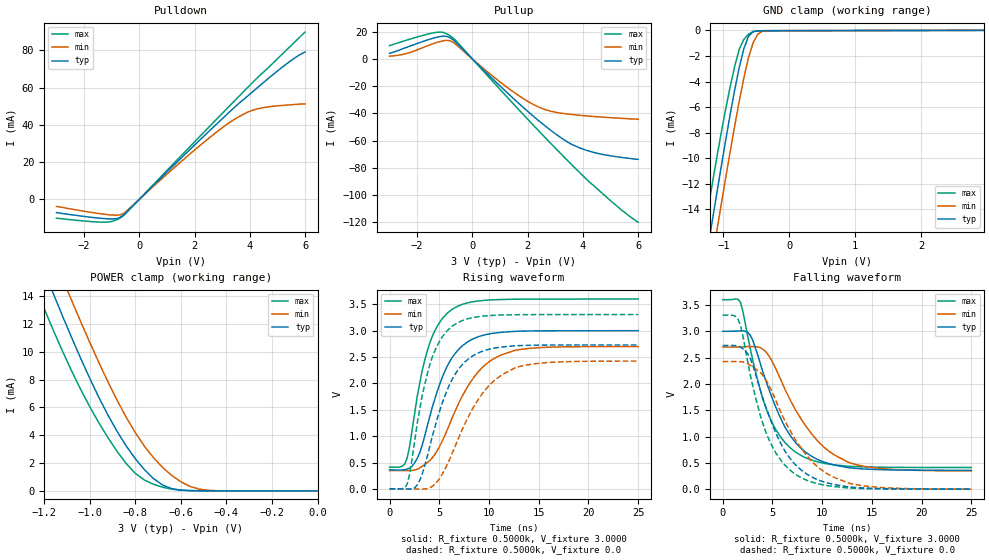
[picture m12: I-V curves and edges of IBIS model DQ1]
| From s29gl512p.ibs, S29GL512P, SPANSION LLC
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|   Model DQ1
[Model]  DQ1
Model_type I/O
Vinl =   0.9000V
Vinh =   2.1000V
Vmeas =  1.5000V
Cref =   30.0000pF
C_comp   2.0000pF   2.0000pF   2.0000pF
[Temperature Range]   25.0000   85.0000   -40.0000
[Pullup Reference]   3.0000V   2.7000V   3.6000V
[Pulldown Reference]   0.0V   0.0V   0.0V
[POWER Clamp Reference]   3.0000V   2.7000V   3.6000V
[GND Clamp Reference]   0.0V   0.0V   0.0V
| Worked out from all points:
|   slope of the pulldown table from 0 to 0.45 V, typ, clamps not added: 67.9 ohm
|   slope of the pullup table from 0 to 0.45 V, typ, clamps not added: 49.7 ohm
|   GND clamp passes 1 mA (typ) near -0.66 V on its own axis
|   POWER clamp passes 1 mA (typ) near -0.73 V on its own axis
|   rising waveform, R_fixture 0.5000k, V_fixture 3.0000: 20-80 % time 2.87ns typ, 3.9ns min, 2.25ns max; typ from 0.359 V to 3 V
|   rising waveform, R_fixture 0.5000k, V_fixture 0.0: 20-80 % time 2.94ns typ, 4.05ns min, 2.28ns max; typ from 0.001 V to 2.73 V
|   falling waveform, R_fixture 0.5000k, V_fixture 3.0000: 20-80 % time 3.67ns typ, 4.59ns min, 3.16ns max; typ from 3 V to 0.358 V
|   falling waveform, R_fixture 0.5000k, V_fixture 0.0: 20-80 % time 3.62ns typ, 4.45ns min, 3.15ns max; typ from 2.73 V to 0 V
[Pulldown]
|Voltage   I(typ)   I(min)   I(max)
-3V       -7.16mA    -3.82mA    -10.15mA
-1.7V     -9.74mA    -7.13mA    -12.05mA
-1.2V     -10.45mA   -8.16mA    -12.28mA
-800mV    -10.31mA   -8.525mA   -10.89mA
-600mV    -8.746mA   -7.855mA   -9.124mA
2.1V      30.54mA    27.69mA    32.38mA
3V        43.22mA    38.4mA     46.1mA
3.5V      50.1mA     43.42mA    53.67mA
4V        56.43mA    47.27mA    61.2mA
4.4V      61.51mA    48.97mA    67.01mA
5.5V      74.6mA     50.74mA    82.63mA
6V        79.1mA     51.2mA     89.79mA
[Pullup]
|Voltage   I(typ)   I(min)   I(max)
-3V       4.18mA     2.07mA     9.86mA
-2.3V     9.2mA      4.53mA     14.41mA
-1.3V     15.97mA    12.1mA     19.65mA
-1.1V     16.74mA    13.25mA    19.74mA
-800mV    15.56mA    13.38mA    17.01mA
1.3V      -25.61mA   -21.55mA   -29.03mA
2V        -38.49mA   -31.14mA   -44.31mA
2.5V      -47.1mA    -36.25mA   -55.03mA
3.4V      -60.56mA   -40.32mA   -73.84mA
4V        -66.32mA   -41.63mA   -85.94mA
5.4V      -72.46mA   -43.7mA    -111.2mA
6V        -73.9mA    -44.41mA   -120.1mA
[GND_clamp]
|Voltage   I(typ)   I(min)   I(max)
-3V       -75.7mA    -77.73mA   -73.04mA
-1.32V    -19.75mA   -22.64mA   -16.75mA
-1.25V    -17.5mA    -20.41mA   -14.52mA
-1.18V    -15.25mA   -18.19mA   -12.34mA
-1.11V    -13.04mA   -15.99mA   -10.22mA
-1.04V    -10.85mA   -13.81mA   -8.188mA
-830mV    -4.671mA   -7.491mA   -2.812mA
-690mV    -1.421mA   -3.698mA   -694.7uA
-550mV    -95.96uA   -968.9uA   -93.26uA
-480mV    -32.5uA    -297.1uA   -34.91uA
-340mV    -18.5uA    -22.15uA   -21.13uA
2.95V     9.466uA    11.01uA    6.466uA
[POWER_clamp]
|Voltage   I(typ)   I(min)   I(max)
-3V       95.5mA     96.63mA    93.54mA
-1.24V    17.45mA    20.1mA     14.71mA
-1.2V     15.81mA    18.48mA    13.12mA
-1.16V    14.19mA    16.87mA    11.56mA
-1.08V    11.05mA    13.72mA    8.652mA
-960mV    6.739mA    9.238mA    4.914mA
-840mV    3.25mA     5.311mA    1.984mA
-720mV    899.7uA    2.397mA    486.5uA
-640mV    169.9uA    1.125mA    139uA
-560mV    29.4uA     337.7uA    32.8uA
-480mV    15.26uA    54.7uA     17.13uA
0V        9.881uA    8.893uA    11.86uA
[Ramp]
| variable   typ   min   max
dV/dt_r  1.6375/2.9130n   1.4533/4.0094n   1.9830/2.2549n
dV/dt_f  1.5844/3.6402n   1.4114/4.5447n   1.9126/3.1269n
R_load = 0.5000k
[Rising Waveform]
R_fixture= 0.5000k
V_fixture= 3.0000
V_fixture_min= 2.7000
V_fixture_max= 3.6000
|time   V(typ)   V(min)   V(max)
0s        359mV      346.2mV    412.2mV
1.26ns    358.8mV    345.8mV    427.5mV
1.77ns    375.2mV    345.9mV    587.3mV
2.78ns    577.9mV    371.4mV    1.754V
3.54ns    1.008V     463.7mV    2.443V
4.29ns    1.55V      588.1mV    2.891V
6.31ns    2.496V     1.355V     3.408V
8.59ns    2.86V      2.144V     3.555V
11.36ns   2.972V     2.548V     3.592V
25ns      3V         2.699V     3.6V
[Rising Waveform]
R_fixture= 0.5000k
V_fixture= 0.0
V_fixture_min= 0.0
V_fixture_max= 0.0
|time   V(typ)   V(min)   V(max)
0s        890.9uV    857.4uV    1.024mV
1.77ns    -3.11mV    202.7uV    90.08mV
2.78ns    75.04mV    -3.544mV   1.244V
3.28ns    280mV      -5.46mV    1.774V
4.29ns    995.2mV    47.57mV    2.498V
6.31ns    2.084V     682.4mV    3.088V
7.58ns    2.408V     1.238V     3.209V
9.34ns    2.611V     1.81V      3.276V
12.63ns   2.714V     2.297V     3.303V
25ns      2.73V      2.423V     3.306V
[Falling Waveform]
R_fixture= 0.5000k
V_fixture= 3.0000
V_fixture_min= 2.7000
V_fixture_max= 3.6000
|time   V(typ)   V(min)   V(max)
0s        2.999V     2.699V     3.599V
1.77ns    3.007V     2.702V     3.555V
2.78ns    2.922V     2.709V     2.661V
4.04ns    2.225V     2.658V     1.708V
4.8ns     1.819V     2.487V     1.333V
6.06ns    1.253V     1.982V     934.2mV
7.32ns    886.2mV    1.508V     704.7mV
9.85ns    539.2mV    857.5mV    504.9mV
12.63ns   408.1mV    510.3mV    435.2mV
25ns      358.4mV    346.7mV    411.4mV
[Falling Waveform]
R_fixture= 0.5000k
V_fixture= 0.0
V_fixture_min= 0.0
V_fixture_max= 0.0
|time   V(typ)   V(min)   V(max)
0s        2.729V     2.423V     3.306V
1.52ns    2.717V     2.424V     3.234V
2.53ns    2.566V     2.383V     2.411V
3.28ns    2.202V     2.285V     1.757V
4.29ns    1.583V     2.091V     1.107V
5.56ns    976mV      1.588V     625.6mV
7.07ns    514mV      1.017V     315.4mV
9.6ns     175.9mV    415.8mV    101.8mV
12.63ns   43.93mV    116.8mV    23.83mV
25ns      237.6uV    915uV      99.71uV
